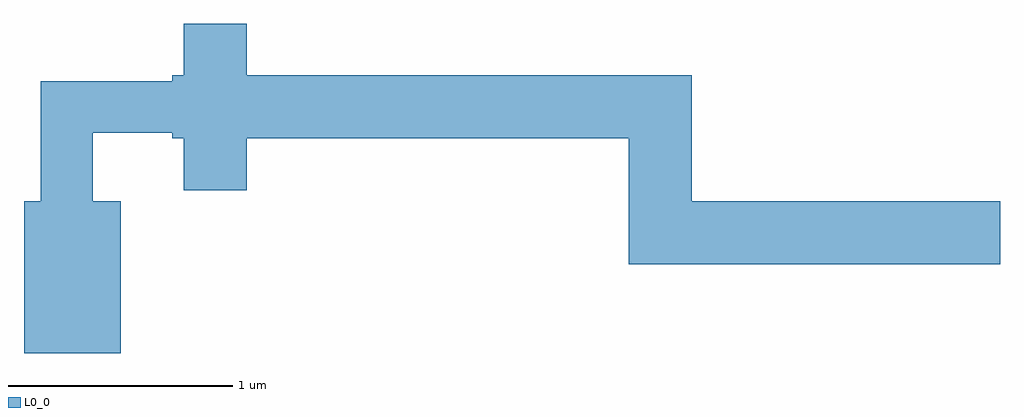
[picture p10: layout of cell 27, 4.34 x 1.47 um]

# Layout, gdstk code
import gdstk
lib = gdstk.Library(unit=1e-6, precision=1e-09)
def P(c, l, *ps):  # polygons
    for p in ps: c.add(gdstk.Polygon(p, *l))
L0_0 = (0, 0)

c_27 = lib.new_cell('27')
P(c_27, L0_0, [(912.995,903.675),(913.885,903.675),(913.885,903.445),(912.995,903.445),(912.995,903.675)],
  [(912.995,903.14),(912.995,903.675),(913.225,903.675),(913.225,903.14),(912.995,903.14)],
  [(913.58,903.7),(913.96,903.7),(913.96,903.42),(913.58,903.42),(913.58,903.7)],
  [(912.92,902.465),(912.92,903.14),(913.35,903.14),(913.35,902.465),(912.92,902.465)],
  [(913.63,903.93),(913.91,903.93),(913.91,903.19),(913.63,903.19),(913.63,903.93)],
  [(913.58,903.7),(913.96,903.7),(913.96,903.42),(913.58,903.42),(913.58,903.7)],
  [(913.63,903.7),(915.89,903.7),(915.89,903.42),(913.63,903.42),(913.63,903.7)],
  [(915.61,902.86),(915.61,903.7),(915.89,903.7),(915.89,902.86),(915.61,902.86)],
  [(915.61,903.14),(917.21,903.14),(917.21,902.86),(915.61,902.86),(915.61,903.14)],
  [(913.58,903.7),(913.96,903.7),(913.96,903.42),(913.58,903.42),(913.58,903.7)],
  [(916.88,903.14),(917.26,903.14),(917.26,902.86),(916.88,902.86),(916.88,903.14)])

lib.write_gds('27.gds')
